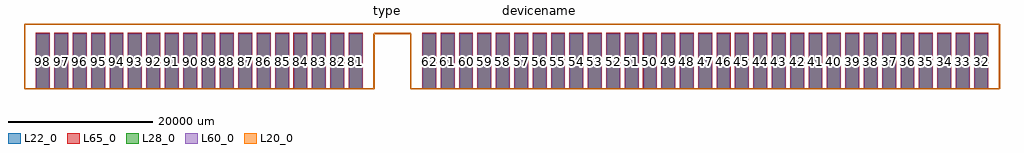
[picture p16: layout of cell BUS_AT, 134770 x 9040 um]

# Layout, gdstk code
import gdstk
lib = gdstk.Library(unit=1e-6, precision=1e-09)
def R(c, l, rs):  # rectangles x0, y0, x1, y1
    for r in rs: c.add(gdstk.rectangle(r[:2], r[2:], *l))
def A(c, l, x, y, w, h, nx, ny, dx, dy):  # array of equal rectangles
    R(c, l, [(x+i*dx, y+j*dy, x+i*dx+w, y+j*dy+h) for i in range(nx) for j in range(ny)])
L20_0 = (20, 0)
L22_0 = (22, 0)
L28_0 = (28, 0)
L60_0 = (60, 0)
L65_0 = (65, 0)

bus_at = lib.new_cell('BUS_AT')
A(bus_at, L22_0, -92404, -3885, 1928, 7770, 18, 1, 2540, 0)
A(bus_at, L22_0, -39064, -3885, 1928, 7770, 31, 1, 2540, 0)
A(bus_at, L28_0, -92329, -3810, 1778, 7620, 18, 1, 2540, 0)
A(bus_at, L28_0, -38989, -3810, 1778, 7620, 31, 1, 2540, 0)
A(bus_at, L60_0, -92329, -3810, 1778, 7620, 18, 1, 2540, 0)
A(bus_at, L60_0, -38989, -3810, 1778, 7620, 31, 1, 2540, 0)
A(bus_at, L65_0, -92404, -3885, 1928, 7770, 18, 1, 2540, 0)
A(bus_at, L65_0, -39064, -3885, 1928, 7770, 31, 1, 2540, 0)
bus_at.add(gdstk.FlexPath([(40640,5080),(40640,-3810)], 149.998, ends="flush", simple_path=True, layer=20, datatype=0))  # L20_0
bus_at.add(gdstk.FlexPath([(-93980,5080),(40640,5080)], 149.998, ends="flush", simple_path=True, layer=20, datatype=0))  # L20_0
bus_at.add(gdstk.FlexPath([(-93980,-3810),(-93980,5080)], 149.998, ends="flush", simple_path=True, layer=20, datatype=0))  # L20_0
bus_at.add(gdstk.FlexPath([(-45720,-3810),(-93980,-3810)], 149.998, ends="flush", simple_path=True, layer=20, datatype=0))  # L20_0
bus_at.add(gdstk.FlexPath([(-45720,3810),(-45720,-3810)], 149.998, ends="flush", simple_path=True, layer=20, datatype=0))  # L20_0
bus_at.add(gdstk.FlexPath([(-40640,3810),(-45720,3810)], 149.998, ends="flush", simple_path=True, layer=20, datatype=0))  # L20_0
bus_at.add(gdstk.FlexPath([(-40640,-3810),(-40640,3810)], 149.998, ends="flush", simple_path=True, layer=20, datatype=0))  # L20_0
bus_at.add(gdstk.FlexPath([(40640,-3810),(-40640,-3810)], 149.998, ends="flush", simple_path=True, layer=20, datatype=0))  # L20_0
bus_at.add(gdstk.Label('98', (-91440,0), layer=28, texttype=0))
bus_at.add(gdstk.Label('97', (-88900,0), layer=28, texttype=0))
bus_at.add(gdstk.Label('96', (-86360,0), layer=28, texttype=0))
bus_at.add(gdstk.Label('95', (-83820,0), layer=28, texttype=0))
bus_at.add(gdstk.Label('94', (-81280,0), layer=28, texttype=0))
bus_at.add(gdstk.Label('93', (-78740,0), layer=28, texttype=0))
bus_at.add(gdstk.Label('92', (-76200,0), layer=28, texttype=0))
bus_at.add(gdstk.Label('91', (-73660,0), layer=28, texttype=0))
bus_at.add(gdstk.Label('90', (-71120,0), layer=28, texttype=0))
bus_at.add(gdstk.Label('89', (-68580,0), layer=28, texttype=0))
bus_at.add(gdstk.Label('88', (-66040,0), layer=28, texttype=0))
bus_at.add(gdstk.Label('87', (-63500,0), layer=28, texttype=0))
bus_at.add(gdstk.Label('86', (-60960,0), layer=28, texttype=0))
bus_at.add(gdstk.Label('85', (-58420,0), layer=28, texttype=0))
bus_at.add(gdstk.Label('84', (-55880,0), layer=28, texttype=0))
bus_at.add(gdstk.Label('83', (-53340,0), layer=28, texttype=0))
bus_at.add(gdstk.Label('82', (-50800,0), layer=28, texttype=0))
bus_at.add(gdstk.Label('81', (-48260,0), layer=28, texttype=0))
bus_at.add(gdstk.Label('80', (-91440,0), layer=60, texttype=0))
bus_at.add(gdstk.Label('79', (-88900,0), layer=60, texttype=0))
bus_at.add(gdstk.Label('78', (-86360,0), layer=60, texttype=0))
bus_at.add(gdstk.Label('77', (-83820,0), layer=60, texttype=0))
bus_at.add(gdstk.Label('76', (-81280,0), layer=60, texttype=0))
bus_at.add(gdstk.Label('75', (-78740,0), layer=60, texttype=0))
bus_at.add(gdstk.Label('74', (-76200,0), layer=60, texttype=0))
bus_at.add(gdstk.Label('73', (-73660,0), layer=60, texttype=0))
bus_at.add(gdstk.Label('72', (-71120,0), layer=60, texttype=0))
bus_at.add(gdstk.Label('71', (-68580,0), layer=60, texttype=0))
bus_at.add(gdstk.Label('70', (-66040,0), layer=60, texttype=0))
bus_at.add(gdstk.Label('69', (-63500,0), layer=60, texttype=0))
bus_at.add(gdstk.Label('68', (-60960,0), layer=60, texttype=0))
bus_at.add(gdstk.Label('67', (-58420,0), layer=60, texttype=0))
bus_at.add(gdstk.Label('66', (-55880,0), layer=60, texttype=0))
bus_at.add(gdstk.Label('65', (-53340,0), layer=60, texttype=0))
bus_at.add(gdstk.Label('64', (-50800,0), layer=60, texttype=0))
bus_at.add(gdstk.Label('63', (-48260,0), layer=60, texttype=0))
bus_at.add(gdstk.Label('62', (-38100,0), layer=28, texttype=0))
bus_at.add(gdstk.Label('61', (-35560,0), layer=28, texttype=0))
bus_at.add(gdstk.Label('60', (-33020,0), layer=28, texttype=0))
bus_at.add(gdstk.Label('59', (-30480,0), layer=28, texttype=0))
bus_at.add(gdstk.Label('58', (-27940,0), layer=28, texttype=0))
bus_at.add(gdstk.Label('57', (-25400,0), layer=28, texttype=0))
bus_at.add(gdstk.Label('56', (-22860,0), layer=28, texttype=0))
bus_at.add(gdstk.Label('55', (-20320,0), layer=28, texttype=0))
bus_at.add(gdstk.Label('54', (-17780,0), layer=28, texttype=0))
bus_at.add(gdstk.Label('53', (-15240,0), layer=28, texttype=0))
bus_at.add(gdstk.Label('52', (-12700,0), layer=28, texttype=0))
bus_at.add(gdstk.Label('51', (-10160,0), layer=28, texttype=0))
bus_at.add(gdstk.Label('50', (-7620,0), layer=28, texttype=0))
bus_at.add(gdstk.Label('49', (-5080,0), layer=28, texttype=0))
bus_at.add(gdstk.Label('48', (-2540,0), layer=28, texttype=0))
bus_at.add(gdstk.Label('47', (0,0), layer=28, texttype=0))
bus_at.add(gdstk.Label('46', (2540,0), layer=28, texttype=0))
bus_at.add(gdstk.Label('45', (5080,0), layer=28, texttype=0))
bus_at.add(gdstk.Label('44', (7620,0), layer=28, texttype=0))
bus_at.add(gdstk.Label('43', (10160,0), layer=28, texttype=0))
bus_at.add(gdstk.Label('42', (12700,0), layer=28, texttype=0))
bus_at.add(gdstk.Label('41', (15240,0), layer=28, texttype=0))
bus_at.add(gdstk.Label('40', (17780,0), layer=28, texttype=0))
bus_at.add(gdstk.Label('39', (20320,0), layer=28, texttype=0))
bus_at.add(gdstk.Label('38', (22860,0), layer=28, texttype=0))
bus_at.add(gdstk.Label('37', (25400,0), layer=28, texttype=0))
bus_at.add(gdstk.Label('36', (27940,0), layer=28, texttype=0))
bus_at.add(gdstk.Label('35', (30480,0), layer=28, texttype=0))
bus_at.add(gdstk.Label('34', (33020,0), layer=28, texttype=0))
bus_at.add(gdstk.Label('33', (35560,0), layer=28, texttype=0))
bus_at.add(gdstk.Label('32', (38100,0), layer=28, texttype=0))
bus_at.add(gdstk.Label('31', (-38100,0), layer=60, texttype=0))
bus_at.add(gdstk.Label('30', (-35560,0), layer=60, texttype=0))
bus_at.add(gdstk.Label('29', (-33020,0), layer=60, texttype=0))
bus_at.add(gdstk.Label('28', (-30480,0), layer=60, texttype=0))
bus_at.add(gdstk.Label('27', (-27940,0), layer=60, texttype=0))
bus_at.add(gdstk.Label('26', (-25400,0), layer=60, texttype=0))
bus_at.add(gdstk.Label('25', (-22860,0), layer=60, texttype=0))
bus_at.add(gdstk.Label('24', (-20320,0), layer=60, texttype=0))
bus_at.add(gdstk.Label('23', (-17780,0), layer=60, texttype=0))
bus_at.add(gdstk.Label('22', (-15240,0), layer=60, texttype=0))
bus_at.add(gdstk.Label('21', (-12700,0), layer=60, texttype=0))
bus_at.add(gdstk.Label('20', (-10160,0), layer=60, texttype=0))
bus_at.add(gdstk.Label('19', (-7620,0), layer=60, texttype=0))
bus_at.add(gdstk.Label('18', (-5080,0), layer=60, texttype=0))
bus_at.add(gdstk.Label('17', (-2540,0), layer=60, texttype=0))
bus_at.add(gdstk.Label('16', (0,0), layer=60, texttype=0))
bus_at.add(gdstk.Label('15', (2540,0), layer=60, texttype=0))
bus_at.add(gdstk.Label('14', (5080,0), layer=60, texttype=0))
bus_at.add(gdstk.Label('13', (7620,0), layer=60, texttype=0))
bus_at.add(gdstk.Label('12', (10160,0), layer=60, texttype=0))
bus_at.add(gdstk.Label('11', (12700,0), layer=60, texttype=0))
bus_at.add(gdstk.Label('10', (15240,0), layer=60, texttype=0))
bus_at.add(gdstk.Label('9', (17780,0), layer=60, texttype=0))
bus_at.add(gdstk.Label('8', (20320,0), layer=60, texttype=0))
bus_at.add(gdstk.Label('7', (22860,0), layer=60, texttype=0))
bus_at.add(gdstk.Label('6', (25400,0), layer=60, texttype=0))
bus_at.add(gdstk.Label('5', (27940,0), layer=60, texttype=0))
bus_at.add(gdstk.Label('4', (30480,0), layer=60, texttype=0))
bus_at.add(gdstk.Label('3', (33020,0), layer=60, texttype=0))
bus_at.add(gdstk.Label('2', (35560,0), layer=60, texttype=0))
bus_at.add(gdstk.Label('1', (38100,0), layer=60, texttype=0))
bus_at.add(gdstk.Label('type', (-43815,6985), layer=9, texttype=0))
bus_at.add(gdstk.Label('devicename', (-22860,6985), layer=9, texttype=0))

lib.write_gds('BUS_AT.gds')
